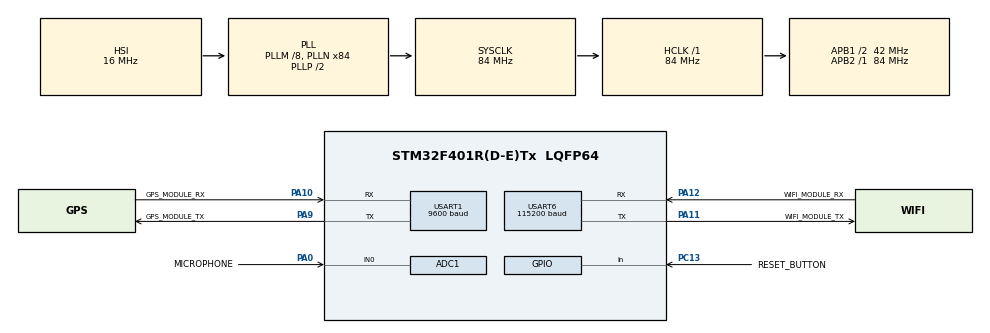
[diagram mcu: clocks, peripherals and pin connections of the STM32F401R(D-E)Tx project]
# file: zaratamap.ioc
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ADC1.Channel-18\#ChannelRegularConversion=ADC_CHANNEL_0
ADC1.ClockPrescaler=ADC_CLOCK_SYNC_PCLK_DIV4
ADC1.ContinuousConvMode=DISABLE
ADC1.DMAContinuousRequests=ENABLE
ADC1.DataAlign=ADC_DATAALIGN_RIGHT
ADC1.DiscontinuousConvMode=DISABLE
ADC1.EOCSelection=ADC_EOC_SINGLE_CONV
ADC1.EnableAnalogWatchDog=false
ADC1.ExternalTrigConv=ADC_EXTERNALTRIGCONV_T2_TRGO
ADC1.ExternalTrigConvEdge=ADC_EXTERNALTRIGCONVEDGE_RISING
ADC1.InjNumberOfConversion=0
ADC1.NbrOfConversion=1
ADC1.NbrOfConversionFlag=1
ADC1.Rank-18\#ChannelRegularConversion=1
ADC1.Resolution=ADC_RESOLUTION_12B
ADC1.SamplingTime-18\#ChannelRegularConversion=ADC_SAMPLETIME_3CYCLES
ADC1.ScanConvMode=DISABLE
ADC1.master=1
Dma.ADC1.0.Direction=DMA_PERIPH_TO_MEMORY
Dma.ADC1.0.FIFOMode=DMA_FIFOMODE_DISABLE
Dma.ADC1.0.Instance=DMA2_Stream0
Dma.ADC1.0.MemDataAlignment=DMA_MDATAALIGN_WORD
Dma.ADC1.0.MemInc=DMA_MINC_ENABLE
Dma.ADC1.0.Mode=DMA_CIRCULAR
Dma.ADC1.0.PeriphDataAlignment=DMA_PDATAALIGN_WORD
Dma.ADC1.0.PeriphInc=DMA_PINC_DISABLE
Dma.ADC1.0.Priority=DMA_PRIORITY_LOW
Dma.Request0=ADC1
Mcu.Family=STM32F4
Mcu.Name=STM32F401R(D-E)Tx
Mcu.Package=LQFP64
NVIC.ADC_IRQn=true\:0\:0\:true\:false\:true\:true
NVIC.DMA2_Stream0_IRQn=true\:0\:0\:false\:false\:true\:false
NVIC.FLASH_IRQn=true\:0\:0\:false\:false\:true\:true
NVIC.FPU_IRQn=true\:0\:0\:false\:false\:true\:true
NVIC.PVD_IRQn=true\:0\:0\:false\:false\:true\:true
NVIC.PriorityGroup=NVIC_PRIORITYGROUP_4
NVIC.RCC_IRQn=true\:0\:0\:false\:false\:true\:true
NVIC.RTC_Alarm_IRQn=true\:0\:0\:false\:false\:true\:true
NVIC.TIM2_IRQn=true\:0\:0\:true\:false\:true\:true
NVIC.USART1_IRQn=true\:0\:0\:false\:false\:true\:true
NVIC.USART6_IRQn=true\:0\:0\:true\:false\:true\:true
PA0-WKUP.GPIO_Label=MICROPHONE
PA0-WKUP.GPIO_PuPd=GPIO_NOPULL
PA0-WKUP.Signal=ADCx_IN0
PA10.GPIO_Label=GPS_MODULE_RX
PA10.Mode=Asynchronous
PA10.Signal=USART1_RX
PA11.GPIO_Label=WIFI_MODULE_TX
PA11.Mode=Asynchronous
PA11.Signal=USART6_TX
PA12.GPIO_Label=WIFI_MODULE_RX
PA12.Mode=Asynchronous
PA12.Signal=USART6_RX
PA9.GPIO_Label=GPS_MODULE_TX
PA9.Mode=Asynchronous
PA9.Signal=USART1_TX
PC13-ANTI_TAMP.GPIO_Label=RESET_BUTTON
PC13-ANTI_TAMP.GPIO_PuPd=GPIO_PULLUP
PC13-ANTI_TAMP.Signal=GPIO_Input
ProjectManager.HeapSize=0x200
ProjectManager.StackSize=0x400
ProjectManager.TargetToolchain=MDK-ARM V5
RCC.48MHZClocksFreq_Value=42000000
RCC.AHBFreq_Value=84000000
RCC.APB1CLKDivider=RCC_HCLK_DIV2
RCC.APB1Freq_Value=42000000
RCC.APB1TimFreq_Value=84000000
RCC.APB2Freq_Value=84000000
RCC.APB2TimFreq_Value=84000000
RCC.CortexFreq_Value=84000000
RCC.HCLKFreq_Value=84000000
RCC.HSE_VALUE=25000000
RCC.HSI_VALUE=16000000
RCC.LSE_VALUE=32768
RCC.PLLM=8
RCC.PLLN=84
RCC.SYSCLKFreq_VALUE=84000000
RCC.SYSCLKSource=RCC_SYSCLKSOURCE_PLLCLK
RCC.VCOOutputFreq_Value=168000000
RTC.Alarm=RTC_ALARM_A
RTC.Format=RTC_FORMAT_BIN
SH.ADCx_IN0.0=ADC1_IN0,IN0
TIM2.Period=1749
TIM2.Prescaler=0
TIM2.TIM_MasterOutputTrigger=TIM_TRGO_UPDATE
USART1.BaudRate=9600
USART1.VirtualMode=VM_ASYNC
USART6.BaudRate=115200
USART6.VirtualMode=VM_ASYNC
VP_RTC_VS_RTC_Activate.Mode=RTC_Enabled
VP_RTC_VS_RTC_Alarm_A_Intern.Mode=Alarm A
VP_RTC_VS_RTC_Calendar.Mode=RTC_Calendar
VP_TIM2_VS_ClockSourceINT.Mode=Internal
board=custom

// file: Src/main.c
/**
  ******************************************************************************
  * @file           : main.c
  * @brief          : Main program body
  ******************************************************************************
  ** This notice applies to any and all portions of this file
  * that are not between comment pairs USER CODE BEGIN and
  * USER CODE END. Other portions of this file, whether
  * inserted by the user or by software development tools
  * are owned by their respective copyright owners.
  *
  * COPYRIGHT(c) 2020 STMicroelectronics
  *
  * Redistribution and use in source and binary forms, with or without modification,
  * are permitted provided that the following conditions are met:
  *   1. Redistributions of source code must retain the above copyright notice,
  *      this list of conditions and the following disclaimer.
  *   2. Redistributions in binary form must reproduce the above copyright notice,
  *      this list of conditions and the following disclaimer in the documentation
  *      and/or other materials provided with the distribution.
  *   3. Neither the name of STMicroelectronics nor the names of its contributors
  *      may be used to endorse or promote products derived from this software
  *      without specific prior written permission.
  *
  * THIS SOFTWARE IS PROVIDED BY THE COPYRIGHT HOLDERS AND CONTRIBUTORS "AS IS"
  * AND ANY EXPRESS OR IMPLIED WARRANTIES, INCLUDING, BUT NOT LIMITED TO, THE
  * IMPLIED WARRANTIES OF MERCHANTABILITY AND FITNESS FOR A PARTICULAR PURPOSE ARE
  * DISCLAIMED. IN NO EVENT SHALL THE COPYRIGHT HOLDER OR CONTRIBUTORS BE LIABLE
  * FOR ANY DIRECT, INDIRECT, INCIDENTAL, SPECIAL, EXEMPLARY, OR CONSEQUENTIAL
  * DAMAGES (INCLUDING, BUT NOT LIMITED TO, PROCUREMENT OF SUBSTITUTE GOODS OR
  * SERVICES; LOSS OF USE, DATA, OR PROFITS; OR BUSINESS INTERRUPTION) HOWEVER
  * CAUSED AND ON ANY THEORY OF LIABILITY, WHETHER IN CONTRACT, STRICT LIABILITY,
  * OR TORT (INCLUDING NEGLIGENCE OR OTHERWISE) ARISING IN ANY WAY OUT OF THE USE
  * OF THIS SOFTWARE, EVEN IF ADVISED OF THE POSSIBILITY OF SUCH DAMAGE.
  *
  ******************************************************************************
  */
#include "main.h"
#include "stm32f4xx_hal.h"

/* USER CODE BEGIN Includes */
#include <string.h>
#include <stdlib.h>
#include <time.h>
#include <ctype.h>
#include "signalProcessing.h"
#include "config.h"

/* USER CODE END Includes */

ADC_HandleTypeDef hadc1;
DMA_HandleTypeDef hdma_adc1;

RTC_HandleTypeDef hrtc;

TIM_HandleTypeDef htim2;

UART_HandleTypeDef huart1;
UART_HandleTypeDef huart6;

/* USER CODE BEGIN PV */
/* Private variables ---------------------------------------------------------*/
uint64_t prueba = 0;
/* GENERAL CONFIGURATIONS AND DATA STRUCTURES --------------------------------*/

#define NUMBER_OF_RMS 					12
#define NUMBER_OF_DATA_TO_SEND	(int)(SECS_BETWEEN_WIFI_DUMP/((FRAME_LENGTH*FRAMES_PER_DATA_UNIT/48000.0)))

struct Coordinates {
	float lat;
	float lon;
	float alt;
};
struct Data_Unit{
	float noise[NUMBER_OF_RMS];
	uint64_t millis;
	struct Coordinates *coordinates;
};

/* MICROPHONE ----------------------------------------------------------------*/

static uint32_t inBuffer[BUFFER_LENGTH];
struct Data_Unit outBuffer[NUMBER_OF_DATA_TO_SEND];
int rmsArrayPosition = 0;

/* WIFI MODULE ---------------------------------------------------------------*/

#define READ_REPLY_SIZE 				1
#define REPLY_BUFFER_SIZE 			1500
#define FULL_POST_SIZE 					433 + strlen(DATABASE_NAME) + strlen(SERVICE_IP) + strlen(SERVICE_PORT) + strlen(VEHICLE_ID)*2
#define WAIT_STATE 							10

volatile uint16_t replyIndex=0;

char *messageAT = "AT\r\n";
char *messageConnectWIFI = "AT+CWJAP=\"" WIFI_SSID "\",\"" WIFI_PASSWORD "\"\r\n";;
char *messageConnectService = "AT+CIPSTART=\"" SERVICE_PROTOCOL "\",\"" SERVICE_IP "\"," SERVICE_PORT "\r\n";
char *messageSetSendingMode = "AT+CIPMODE=1\r\n";
char *messageStartSend = "AT+CIPSEND\r\n";
char *messageEndOfSend = "+++";
char *messageExitSendingMode = "AT+CIPMODE=0\r\n";
char *messageCloseConnection = "AT+CIPCLOSE\r\n";
char *messageReset = "AT+RST\r\n";
char *fullPost;

char readReply, reply[REPLY_BUFFER_SIZE];

int status = WAIT_STATE;
int statusTimeout = 0;
int resendMessage = 0;
int dataSent = 0;

/* RTC -----------------------------------------------------------------------*/

RTC_TimeTypeDef sTime;
RTC_AlarmTypeDef sAlarm;
RTC_DateTypeDef sDate;

const char *months[] = {"Jan", "Feb", "Mar", "Apr", "May", "Jun", "Jul", "Aug", "Sep", "Oct", "Nov", "Dec"};

struct tm currentTime;

volatile uint16_t secondsSinceStatusChange = 0;

/* GPS MODULE ----------------------------------------------------------------*/

#define READ_REPLY_SIZE_GPS 		1
#define REPLY_BUFFER_SIZE_GPS 	800
#define WAIT_STATE_GPS 					4
#define NUMBER_OF_GPS_VALUES		((NUMBER_OF_DATA_TO_SEND/NUMBER_OF_SECONDS_WITH_SAME_GPS) + (((int)NUMBER_OF_DATA_TO_SEND% (int)NUMBER_OF_SECONDS_WITH_SAME_GPS) != 0))

volatile uint16_t replyIndexGPS=0;

char *messagePowerGPS = "AT+CGPSPWR=1\r\n";
char *messageRetrieveGPS = "AT+CGPSINF=0\r\n";

char readReplyGPS, replyGPS[REPLY_BUFFER_SIZE_GPS], *replyGPSAux;

int statusGPS = WAIT_STATE_GPS;
int statusTimeoutGPS = 0;
int resendMessageGPS = 0;
volatile uint16_t secondsSinceStatusChangeGPS = 0;

int wordIndex = 0, auxGPSDataPosition = 0, lastPositionedData = 0;

int coordinateIndex = 0;

struct Coordinates allCoordinates[(int)NUMBER_OF_GPS_VALUES];

/* USER CODE END PV */

void SystemClock_Config(void);
static void MX_GPIO_Init(void);
static void MX_DMA_Init(void);
static void MX_USART6_UART_Init(void);
static void MX_RTC_Init(void);
static void MX_TIM2_Init(void);
static void MX_ADC1_Init(void);
static void MX_USART1_UART_Init(void);

/* USER CODE BEGIN PFP */
/* Private function prototypes -----------------------------------------------*/

/* RTC -----------------------------------------------------------------------*/
void setRTC(void);
uint64_t currentTimeInMillis(void);

/* UART ----------------------------------------------------------------------*/
void emptyReply( char *reply, int replySize, volatile uint16_t *index );
void nextMessage(void);
void nextMessageGPS(void);

/* USER CODE END PFP */

int main(void)
{

  /* MCU Configuration----------------------------------------------------------*/

  /* Reset of all peripherals, Initializes the Flash interface and the Systick. */
  HAL_Init();

  /* Configure the system clock */
  SystemClock_Config();

  /* Initialize all configured peripherals */
  MX_GPIO_Init();
  MX_DMA_Init();
  MX_USART6_UART_Init();
  MX_RTC_Init();
  MX_TIM2_Init();
  MX_ADC1_Init();
  MX_USART1_UART_Init();
  /* USER CODE BEGIN 2 */

	/* Initialize timer and DMA for microphone data acquisition */

	for (int i = 0; i < BUFFER_LENGTH; i++) inBuffer[i] = 0;

	HAL_TIM_Base_Start(&htim2);
  HAL_ADC_Start_DMA(&hadc1,(uint32_t *) inBuffer, BUFFER_LENGTH);
	init_processing();

	/* Initialize WiFi module and related */

	setRTC();
	HAL_UART_Receive_IT(&huart6, (uint8_t *)&readReply, READ_REPLY_SIZE);
	emptyReply(reply, REPLY_BUFFER_SIZE, &replyIndex);

	/* Initialize GPS module and related */

	HAL_UART_Receive_IT(&huart1, (uint8_t *)&readReplyGPS, READ_REPLY_SIZE_GPS);
	emptyReply(replyGPS, REPLY_BUFFER_SIZE_GPS, &replyIndexGPS);
	for (int i = 0; i < (int)NUMBER_OF_GPS_VALUES; i++){
		allCoordinates[i].lon = 0;
		allCoordinates[i].lat = 0;
		allCoordinates[i].alt = 0;
	}

	/* Initialize data */
	for (int i = 0; i < SECS_BETWEEN_WIFI_DUMP; i++){
		for (int j = 0; j < NUMBER_OF_RMS; j++) outBuffer[i].noise[j] = 0;
		outBuffer[i].coordinates = &allCoordinates[0];
	}

  /* USER CODE END 2 */

  /* Infinite loop */
  while (1)
  {

  /* USER CODE BEGIN 3 */

	/* ADD MILLISECONDS TO DATA */

	if (outBuffer[rmsArrayPosition].millis == 0) outBuffer[rmsArrayPosition].millis = currentTimeInMillis();

	/* GPS MODULE */

	if (statusGPS == WAIT_STATE_GPS && lastPositionedData != rmsArrayPosition && rmsArrayPosition % NUMBER_OF_SECONDS_WITH_SAME_GPS == 0){
		statusGPS = 0;
		statusTimeoutGPS = 0;
		secondsSinceStatusChangeGPS = secondsSinceStatusChange;
		lastPositionedData = rmsArrayPosition;
	}

	if(statusGPS != WAIT_STATE_GPS){
		switch (statusGPS)
		{
			case 0:
				// AT Command to check SIM808 is working
				HAL_UART_Transmit(&huart1, (uint8_t *)messageAT, strlen(messageAT), MAX_SECS_BETWEEN_STATUS_GPS*1000);
				nextMessageGPS();
				break;

			case 1:
				// Turn on the GPS power supply
				if (strstr(replyGPS, "\r\nOK\r\n") != NULL || resendMessageGPS == 1){
					emptyReply(replyGPS, REPLY_BUFFER_SIZE_GPS, &replyIndexGPS);
					HAL_UART_Transmit(&huart1, (uint8_t *)messagePowerGPS, strlen(messagePowerGPS), MAX_SECS_BETWEEN_STATUS_GPS*1000);
					nextMessageGPS();
				}
				break;

			case 2:
				// Ask for GPS Position
				if (strstr(replyGPS, "\r\nOK\r\n") != NULL || resendMessageGPS == 1){
					emptyReply(replyGPS, REPLY_BUFFER_SIZE_GPS, &replyIndexGPS);
					HAL_UART_Transmit(&huart1, (uint8_t *)messageRetrieveGPS, strlen(messageRetrieveGPS), MAX_SECS_BETWEEN_STATUS_GPS*1000);
					nextMessageGPS();
				}
				break;

			case 3:
				// Store obtained GPS Position in variables
				if (((strstr(replyGPS, "\r\nOK\r\n") != NULL) && (strstr(replyGPS, "+CGPSINF:") != NULL))|| resendMessageGPS == 1){
						replyGPSAux = strtok(replyGPS, ",");
						while(wordIndex < 3)
						{
							replyGPSAux = strtok(NULL, ",");
							wordIndex++;
							switch (wordIndex){
								case 1:
									allCoordinates[coordinateIndex].lon = atof(replyGPSAux)/100.0;
									break;
								case 2:
									allCoordinates[coordinateIndex].lat = atof(replyGPSAux)/100.0;
									break;
								case 3:
									allCoordinates[coordinateIndex].alt = atof(replyGPSAux);
									break;
							}
						}
						wordIndex = 0;
						if (++coordinateIndex == (int)NUMBER_OF_GPS_VALUES) coordinateIndex = 0;
						for (int i = 0; i < (int)NUMBER_OF_SECONDS_WITH_SAME_GPS; i++){
							auxGPSDataPosition = (rmsArrayPosition-1)- i;
							if (auxGPSDataPosition < 0) auxGPSDataPosition = (int)NUMBER_OF_DATA_TO_SEND + (rmsArrayPosition -1 - i);
							outBuffer[auxGPSDataPosition].coordinates = &allCoordinates[coordinateIndex];
						}
						emptyReply(replyGPS, REPLY_BUFFER_SIZE_GPS, &replyIndexGPS);
						statusTimeoutGPS = 0;
						nextMessageGPS();
					}
					break;

			default:
				// default statements
				break;
			}
			if (replyIndexGPS < (REPLY_BUFFER_SIZE_GPS-1)){
				replyGPS[replyIndexGPS] = readReplyGPS;
			}
			if ((secondsSinceStatusChange - secondsSinceStatusChangeGPS) > MAX_SECS_BETWEEN_STATUS_GPS){
				statusTimeoutGPS++;
				statusGPS--;
				resendMessageGPS = 1;
				emptyReply(replyGPS, REPLY_BUFFER_SIZE_GPS, &replyIndexGPS);
				secondsSinceStatusChangeGPS = secondsSinceStatusChange;
			}
			if (statusTimeoutGPS > (RETRY_NUMBER_GPS)){
				statusGPS = WAIT_STATE_GPS;
			}
		}

	/* WIFI MODULE */

	if(status != WAIT_STATE){
		switch (status)
		{
			case 0:
				// AT Command to check ESP8266 is working
				HAL_UART_Transmit(&huart6, (uint8_t *)messageAT, strlen(messageAT), MAX_SECS_BETWEEN_STATUS*1000);
				nextMessage();
				break;

			case 1:
				// Connect to WiFi
				if (strstr(reply, "\r\nOK\r\n") != NULL || resendMessage == 1){
					emptyReply(reply, REPLY_BUFFER_SIZE, &replyIndex);
					HAL_UART_Transmit(&huart6, (uint8_t *)messageConnectWIFI, strlen(messageConnectWIFI), MAX_SECS_BETWEEN_STATUS*1000);
					nextMessage();
				}
				break;

			case 2:
				// Connect to service in which the database is running
				if (strstr(reply, "\r\nOK\r\n") != NULL || resendMessage == 1){
					emptyReply(reply, REPLY_BUFFER_SIZE, &replyIndex);
					HAL_UART_Transmit(&huart6, (uint8_t *)messageConnectService, strlen(messageConnectService), MAX_SECS_BETWEEN_STATUS*1000);
					nextMessage();
				}
				break;

			case 3:
				// Select sending mode in ESP8266
				if (strstr(reply, "\r\nOK\r\n") != NULL || resendMessage == 1){
					emptyReply(reply, REPLY_BUFFER_SIZE, &replyIndex);
					HAL_UART_Transmit(&huart6, (uint8_t *)messageSetSendingMode, strlen(messageSetSendingMode), MAX_SECS_BETWEEN_STATUS*1000);
					nextMessage();
				}
				break;

			case 4:
				// Command to ESP8266 the start of a message
				if (strstr(reply, "\r\nOK\r\n") != NULL || resendMessage == 1){
					emptyReply(reply, REPLY_BUFFER_SIZE, &replyIndex);
					HAL_UART_Transmit(&huart6, (uint8_t *)messageStartSend, strlen(messageStartSend), MAX_SECS_BETWEEN_STATUS*1000);
					nextMessage();
				}
				break;

			case 5:
				// Send POST message
				if (strstr(reply, "\r\nOK\r\n\r\n>") != NULL || resendMessage == 1){
					emptyReply(reply, REPLY_BUFFER_SIZE, &replyIndex);
					fullPost = malloc(FULL_POST_SIZE);
//					test = outBuffer[9].coordinates->alt;
					snprintf(fullPost, FULL_POST_SIZE, "POST /write?db=%s HTTP/1.1\r\nHost: %s:%s\r\nUser-Agent: curl/7.55.1\r\nAccept: */*\r\nContent-Length:298\r\nContent-Type: application/x-www-form-urlencoded\r\n\r\nzaratamap_data,host=%s,key=%s-%llu Laeq=%07.3f,LaeqA=%07.3f,o63=%07.3f,o125=%07.3f,o250=%07.3f,o500=%07.3f,o1000=%07.3f,o2000=%07.3f,o4000=%07.3f,o8000=%07.3f,o16000=%07.3f,lon=%08.3f,lat=%08.3f,alt=%08.3f,aux_time=%llu,class=\"undefined\" %llu000000\r\n",
										DATABASE_NAME, SERVICE_IP, SERVICE_PORT, VEHICLE_ID, VEHICLE_ID, outBuffer[dataSent].millis, outBuffer[dataSent].noise[0], outBuffer[dataSent].noise[11], outBuffer[dataSent].noise[2], outBuffer[dataSent].noise[3],
										outBuffer[dataSent].noise[4], outBuffer[dataSent].noise[5], outBuffer[dataSent].noise[6], outBuffer[dataSent].noise[7], outBuffer[dataSent].noise[8],
										outBuffer[dataSent].noise[9], outBuffer[dataSent].noise[10],
										outBuffer[dataSent].coordinates->lon, outBuffer[dataSent].coordinates->lat, outBuffer[dataSent].coordinates->alt,
										outBuffer[dataSent].millis, outBuffer[dataSent].millis);
					HAL_UART_Transmit(&huart6, (uint8_t *)fullPost, strlen(fullPost), MAX_SECS_BETWEEN_STATUS*1000);
					free(fullPost);
					outBuffer[dataSent].millis = 0;
					nextMessage();
				}
				break;

			case 6:
				// Command to ESP8266 the end of the message
				if ((strstr(reply, "GMT\r\n") != NULL && strstr(reply, "HTTP/1.1 204") != NULL) || (secondsSinceStatusChange > SECS_BETWEEN_DATA_MESSAGES) || resendMessage == 1){
					emptyReply(reply, REPLY_BUFFER_SIZE, &replyIndex);
					if (++dataSent == NUMBER_OF_DATA_TO_SEND){
						dataSent = 0;
						HAL_UART_Transmit(&huart6, (uint8_t *)messageEndOfSend, strlen(messageEndOfSend), MAX_SECS_BETWEEN_STATUS*1000);
						nextMessage();
					}else{
						status--;
						resendMessage = 1;
						emptyReply(reply, REPLY_BUFFER_SIZE, &replyIndex);
						secondsSinceStatusChange = 0;
					}
				}
				break;

			case 7:
				// Exit sending mode
				if ((secondsSinceStatusChange > SECS_FOR_NO_REPLY_MESSAGE) || resendMessage == 1){
					emptyReply(reply, REPLY_BUFFER_SIZE, &replyIndex);
					HAL_UART_Transmit(&huart6, (uint8_t *)messageExitSendingMode, strlen(messageExitSendingMode), MAX_SECS_BETWEEN_STATUS*1000);
					nextMessage();
				}
				break;

			case 8:
				// Close connection
				if (strstr(reply, "\r\nOK\r\n") != NULL || resendMessage == 1){
					emptyReply(reply, REPLY_BUFFER_SIZE, &replyIndex);
					HAL_UART_Transmit(&huart6, (uint8_t *)messageCloseConnection, strlen(messageCloseConnection), MAX_SECS_BETWEEN_STATUS*1000);
					nextMessage();
				}
				break;

			case 9:
				// Wait for close confirmation
				if (strstr(reply, "\r\nOK\r\n") != NULL  || resendMessage == 1){
					emptyReply(reply, REPLY_BUFFER_SIZE, &replyIndex);
					nextMessage();
				}
				break;

			case 404:
				// Close connection because of error
				emptyReply(reply, REPLY_BUFFER_SIZE, &replyIndex);
				HAL_UART_Transmit(&huart6, (uint8_t *)messageCloseConnection, strlen(messageCloseConnection), MAX_SECS_BETWEEN_STATUS*1000);
				nextMessage();
				break;

			case 405:
				// Reset ESP8266
				if (strstr(reply, "\r\nOK\r\n") != NULL || (secondsSinceStatusChange > SECS_FOR_NO_REPLY_MESSAGE) || resendMessage == 1){
					emptyReply(reply, REPLY_BUFFER_SIZE, &replyIndex);
					HAL_UART_Transmit(&huart6, (uint8_t *)messageReset, strlen(messageReset), MAX_SECS_BETWEEN_STATUS*1000);
					nextMessage();
				}
				break;

			case 406:
				// Wait for confirmation of reset and return to WAIT_STATE
				if (strstr(reply, "\r\nOK\r\n") != NULL || (secondsSinceStatusChange > SECS_FOR_NO_REPLY_MESSAGE) || resendMessage == 1){
					emptyReply(reply, REPLY_BUFFER_SIZE, &replyIndex);
					nextMessage();
					status = WAIT_STATE;
				}
				break;
			default:
				// default statements
				break;
		}

		if (replyIndex < (REPLY_BUFFER_SIZE-1)){
			reply[replyIndex] = readReply;
		}

		if (HAL_GPIO_ReadPin(GPIOC, GPIO_PIN_13) == 0 || statusTimeout > (RETRY_NUMBER-1)){
			HAL_Delay(5);
			status = 404;
		}

		if (secondsSinceStatusChange > MAX_SECS_BETWEEN_STATUS){
			statusTimeout++;
			status--;
			resendMessage = 1;
			emptyReply(reply, REPLY_BUFFER_SIZE, &replyIndex);
			secondsSinceStatusChange = 0;
		}
	}

	if (status == WAIT_STATE && statusGPS == WAIT_STATE_GPS && getFrameIndex() == 0 && secondsSinceStatusChange > SECS_BETWEEN_WIFI_DUMP){
		status = 0;
		secondsSinceStatusChange = 0;
		emptyReply(reply, REPLY_BUFFER_SIZE, &replyIndex);
	}

}
  /* USER CODE END 3 */

}

void SystemClock_Config(void)
{

  RCC_OscInitTypeDef RCC_OscInitStruct;
  RCC_ClkInitTypeDef RCC_ClkInitStruct;
  RCC_PeriphCLKInitTypeDef PeriphClkInitStruct;

    /**Configure the main internal regulator output voltage
    */
  __HAL_RCC_PWR_CLK_ENABLE();

  __HAL_PWR_VOLTAGESCALING_CONFIG(PWR_REGULATOR_VOLTAGE_SCALE2);

    /**Initializes the CPU, AHB and APB busses clocks
    */
  RCC_OscInitStruct.OscillatorType = RCC_OSCILLATORTYPE_HSI|RCC_OSCILLATORTYPE_LSI;
  RCC_OscInitStruct.HSIState = RCC_HSI_ON;
  RCC_OscInitStruct.HSICalibrationValue = 16;
  RCC_OscInitStruct.LSIState = RCC_LSI_ON;
  RCC_OscInitStruct.PLL.PLLState = RCC_PLL_ON;
  RCC_OscInitStruct.PLL.PLLSource = RCC_PLLSOURCE_HSI;
  RCC_OscInitStruct.PLL.PLLM = 8;
  RCC_OscInitStruct.PLL.PLLN = 84;
  RCC_OscInitStruct.PLL.PLLP = RCC_PLLP_DIV2;
  RCC_OscInitStruct.PLL.PLLQ = 4;
  if (HAL_RCC_OscConfig(&RCC_OscInitStruct) != HAL_OK)
  {
    _Error_Handler(__FILE__, __LINE__);
  }

    /**Initializes the CPU, AHB and APB busses clocks
    */
  RCC_ClkInitStruct.ClockType = RCC_CLOCKTYPE_HCLK|RCC_CLOCKTYPE_SYSCLK
                              |RCC_CLOCKTYPE_PCLK1|RCC_CLOCKTYPE_PCLK2;
  RCC_ClkInitStruct.SYSCLKSource = RCC_SYSCLKSOURCE_PLLCLK;
  RCC_ClkInitStruct.AHBCLKDivider = RCC_SYSCLK_DIV1;
  RCC_ClkInitStruct.APB1CLKDivider = RCC_HCLK_DIV2;
  RCC_ClkInitStruct.APB2CLKDivider = RCC_HCLK_DIV1;

  if (HAL_RCC_ClockConfig(&RCC_ClkInitStruct, FLASH_LATENCY_2) != HAL_OK)
  {
    _Error_Handler(__FILE__, __LINE__);
  }

  PeriphClkInitStruct.PeriphClockSelection = RCC_PERIPHCLK_RTC;
  PeriphClkInitStruct.RTCClockSelection = RCC_RTCCLKSOURCE_LSI;
  if (HAL_RCCEx_PeriphCLKConfig(&PeriphClkInitStruct) != HAL_OK)
  {
    _Error_Handler(__FILE__, __LINE__);
  }

    /**Configure the Systick interrupt time
    */
  HAL_SYSTICK_Config(HAL_RCC_GetHCLKFreq()/1000);

    /**Configure the Systick
    */
  HAL_SYSTICK_CLKSourceConfig(SYSTICK_CLKSOURCE_HCLK);

  /* SysTick_IRQn interrupt configuration */
  HAL_NVIC_SetPriority(SysTick_IRQn, 0, 0);
}

/* ADC1 init function */
static void MX_ADC1_Init(void)
{

  ADC_ChannelConfTypeDef sConfig;

    /**Configure the global features of the ADC (Clock, Resolution, Data Alignment and number of conversion)
    */
  hadc1.Instance = ADC1;
  hadc1.Init.ClockPrescaler = ADC_CLOCK_SYNC_PCLK_DIV4;
  hadc1.Init.Resolution = ADC_RESOLUTION_12B;
  hadc1.Init.ScanConvMode = DISABLE;
  hadc1.Init.ContinuousConvMode = DISABLE;
  hadc1.Init.DiscontinuousConvMode = DISABLE;
  hadc1.Init.ExternalTrigConvEdge = ADC_EXTERNALTRIGCONVEDGE_RISING;
  hadc1.Init.ExternalTrigConv = ADC_EXTERNALTRIGCONV_T2_TRGO;
  hadc1.Init.DataAlign = ADC_DATAALIGN_RIGHT;
  hadc1.Init.NbrOfConversion = 1;
  hadc1.Init.DMAContinuousRequests = ENABLE;
  hadc1.Init.EOCSelection = ADC_EOC_SINGLE_CONV;
  if (HAL_ADC_Init(&hadc1) != HAL_OK)
  {
    _Error_Handler(__FILE__, __LINE__);
  }

    /**Configure for the selected ADC regular channel its corresponding rank in the sequencer and its sample time.
    */
  sConfig.Channel = ADC_CHANNEL_0;
  sConfig.Rank = 1;
  sConfig.SamplingTime = ADC_SAMPLETIME_3CYCLES;
  if (HAL_ADC_ConfigChannel(&hadc1, &sConfig) != HAL_OK)
  {
    _Error_Handler(__FILE__, __LINE__);
  }

}

/* RTC init function */
static void MX_RTC_Init(void)
{

  RTC_TimeTypeDef sTime;
  RTC_DateTypeDef sDate;
  RTC_AlarmTypeDef sAlarm;

    /**Initialize RTC Only
    */
  hrtc.Instance = RTC;
  hrtc.Init.HourFormat = RTC_HOURFORMAT_24;
  hrtc.Init.AsynchPrediv = 127;
  hrtc.Init.SynchPrediv = 255;
  hrtc.Init.OutPut = RTC_OUTPUT_DISABLE;
  hrtc.Init.OutPutPolarity = RTC_OUTPUT_POLARITY_HIGH;
  hrtc.Init.OutPutType = RTC_OUTPUT_TYPE_OPENDRAIN;
  if (HAL_RTC_Init(&hrtc) != HAL_OK)
  {
    _Error_Handler(__FILE__, __LINE__);
  }

    /**Initialize RTC and set the Time and Date
    */
  sTime.Hours = 0;
  sTime.Minutes = 0;
  sTime.Seconds = 0;
  sTime.DayLightSaving = RTC_DAYLIGHTSAVING_NONE;
  sTime.StoreOperation = RTC_STOREOPERATION_RESET;
  if (HAL_RTC_SetTime(&hrtc, &sTime, RTC_FORMAT_BIN) != HAL_OK)
  {
    _Error_Handler(__FILE__, __LINE__);
  }

  sDate.WeekDay = RTC_WEEKDAY_MONDAY;
  sDate.Month = RTC_MONTH_JANUARY;
  sDate.Date = 1;
  sDate.Year = 0;

  if (HAL_RTC_SetDate(&hrtc, &sDate, RTC_FORMAT_BIN) != HAL_OK)
  {
    _Error_Handler(__FILE__, __LINE__);
  }

    /**Enable the Alarm A
    */
  sAlarm.AlarmTime.Hours = 0;
  sAlarm.AlarmTime.Minutes = 0;
  sAlarm.AlarmTime.Seconds = 0;
  sAlarm.AlarmTime.SubSeconds = 0;
  sAlarm.AlarmTime.DayLightSaving = RTC_DAYLIGHTSAVING_NONE;
  sAlarm.AlarmTime.StoreOperation = RTC_STOREOPERATION_RESET;
  sAlarm.AlarmMask = RTC_ALARMMASK_NONE;
  sAlarm.AlarmSubSecondMask = RTC_ALARMSUBSECONDMASK_ALL;
  sAlarm.AlarmDateWeekDaySel = RTC_ALARMDATEWEEKDAYSEL_DATE;
  sAlarm.AlarmDateWeekDay = 1;
  sAlarm.Alarm = RTC_ALARM_A;
  if (HAL_RTC_SetAlarm_IT(&hrtc, &sAlarm, RTC_FORMAT_BIN) != HAL_OK)
  {
    _Error_Handler(__FILE__, __LINE__);
  }

}

/* TIM2 init function */
static void MX_TIM2_Init(void)
{

  TIM_ClockConfigTypeDef sClockSourceConfig;
  TIM_MasterConfigTypeDef sMasterConfig;

  htim2.Instance = TIM2;
  htim2.Init.Prescaler = 0;
  htim2.Init.CounterMode = TIM_COUNTERMODE_UP;
  htim2.Init.Period = 1749;
  htim2.Init.ClockDivision = TIM_CLOCKDIVISION_DIV1;
  if (HAL_TIM_Base_Init(&htim2) != HAL_OK)
  {
    _Error_Handler(__FILE__, __LINE__);
  }

  sClockSourceConfig.ClockSource = TIM_CLOCKSOURCE_INTERNAL;
  if (HAL_TIM_ConfigClockSource(&htim2, &sClockSourceConfig) != HAL_OK)
  {
    _Error_Handler(__FILE__, __LINE__);
  }

  sMasterConfig.MasterOutputTrigger = TIM_TRGO_UPDATE;
  sMasterConfig.MasterSlaveMode = TIM_MASTERSLAVEMODE_DISABLE;
  if (HAL_TIMEx_MasterConfigSynchronization(&htim2, &sMasterConfig) != HAL_OK)
  {
    _Error_Handler(__FILE__, __LINE__);
  }

}

/* USART1 init function */
static void MX_USART1_UART_Init(void)
{

  huart1.Instance = USART1;
  huart1.Init.BaudRate = 9600;
  huart1.Init.WordLength = UART_WORDLENGTH_8B;
  huart1.Init.StopBits = UART_STOPBITS_1;
  huart1.Init.Parity = UART_PARITY_NONE;
  huart1.Init.Mode = UART_MODE_TX_RX;
  huart1.Init.HwFlowCtl = UART_HWCONTROL_NONE;
  huart1.Init.OverSampling = UART_OVERSAMPLING_16;
  if (HAL_UART_Init(&huart1) != HAL_OK)
  {
    _Error_Handler(__FILE__, __LINE__);
  }

}

/* USART6 init function */
static void MX_USART6_UART_Init(void)
{

  huart6.Instance = USART6;
  huart6.Init.BaudRate = 115200;
  huart6.Init.WordLength = UART_WORDLENGTH_8B;
  huart6.Init.StopBits = UART_STOPBITS_1;
  huart6.Init.Parity = UART_PARITY_NONE;
  huart6.Init.Mode = UART_MODE_TX_RX;
  huart6.Init.HwFlowCtl = UART_HWCONTROL_NONE;
  huart6.Init.OverSampling = UART_OVERSAMPLING_16;
  if (HAL_UART_Init(&huart6) != HAL_OK)
  {
    _Error_Handler(__FILE__, __LINE__);
  }

}

static void MX_DMA_Init(void)
{
  /* DMA controller clock enable */
  __HAL_RCC_DMA2_CLK_ENABLE();

  /* DMA interrupt init */
  /* DMA2_Stream0_IRQn interrupt configuration */
  HAL_NVIC_SetPriority(DMA2_Stream0_IRQn, 0, 0);
  HAL_NVIC_EnableIRQ(DMA2_Stream0_IRQn);

}

/** Configure pins as
        * Analog
        * Input
        * Output
        * EVENT_OUT
        * EXTI
*/
static void MX_GPIO_Init(void)
{

  GPIO_InitTypeDef GPIO_InitStruct;

  /* GPIO Ports Clock Enable */
  __HAL_RCC_GPIOC_CLK_ENABLE();
  __HAL_RCC_GPIOA_CLK_ENABLE();

  /*Configure GPIO pin : RESET_BUTTON_Pin */
  GPIO_InitStruct.Pin = RESET_BUTTON_Pin;
  GPIO_InitStruct.Mode = GPIO_MODE_INPUT;
  GPIO_InitStruct.Pull = GPIO_PULLUP;
  HAL_GPIO_Init(RESET_BUTTON_GPIO_Port, &GPIO_InitStruct);

}

/* USER CODE BEGIN 4 */

void HAL_ADC_ConvCpltCallback(ADC_HandleTypeDef* hadc){
	if (status == WAIT_STATE && statusGPS == WAIT_STATE_GPS) process(&inBuffer[FRAME_LENGTH],&outBuffer[rmsArrayPosition].noise[0],FRAME_LENGTH, &rmsArrayPosition);
}

void HAL_ADC_ConvHalfCpltCallback(ADC_HandleTypeDef* hadc){
	if (status == WAIT_STATE && statusGPS == WAIT_STATE_GPS) process(&inBuffer[0],&outBuffer[rmsArrayPosition].noise[0],FRAME_LENGTH, &rmsArrayPosition);
}

void HAL_UART_RxCpltCallback(UART_HandleTypeDef *UartHandle)
{
    HAL_UART_Receive_IT(&huart6,(uint8_t *) &readReply, READ_REPLY_SIZE);
		HAL_UART_Receive_IT(&huart1,(uint8_t *) &readReplyGPS, READ_REPLY_SIZE_GPS);
}

void emptyReply( char *reply, int replySize, volatile uint16_t *index ) {
   for (int i = 0; i < replySize; i++) reply[i] = 0;
	 *index = 0;
}

void nextMessage(void){
	status++;
	secondsSinceStatusChange = 0;
	if (resendMessage == 0) statusTimeout = 0;
	else resendMessage = 0;
}

void nextMessageGPS(void){
	statusGPS++;
	if (resendMessageGPS == 0) statusTimeoutGPS = 0;
	else resendMessageGPS = 0;
	secondsSinceStatusChangeGPS = secondsSinceStatusChange;
}

void setRTC(void){
	// Set time
	sTime.Hours = (__TIME__[0] - 0x30)*10 +  (__TIME__[1] - 0x30);
  sTime.Minutes = (__TIME__[3] - 0x30)*10 +  (__TIME__[4] - 0x30);
  sTime.Seconds = (__TIME__[6] - 0x30)*10 +  (__TIME__[7] - 0x30);
	HAL_RTC_SetTime(&hrtc, &sTime, RTC_FORMAT_BIN);

	// Set date
	char month[4];
	strncpy(month, __DATE__, 3);
	month[3] = '\0';
	for (int i = 0; i < 12; i++){
		if (strcmp(months[i], month) == 0){
			if (i < 9) sDate.Month = ('0' - 0x30)*10 +  (i + 1 + '0' - 0x30);
			else sDate.Month = ('1' - 0x30)*10 +  (((i+1)%10) + '0' - 0x30);
		}
	}
  sDate.Date = (isdigit(__DATE__[4]) ? (__DATE__[4] - 0x30)*10 : 0) +  (__DATE__[5] - 0x30);
  sDate.Year = (__DATE__[9] - 0x30)*10 + (__DATE__[10] - 0x30);
	HAL_RTC_SetDate(&hrtc, &sDate, RTC_FORMAT_BIN);

	// Set alarm to interrupt every second
	RTC_AlarmTypeDef sAlarm;
	HAL_RTC_GetAlarm(&hrtc, &sAlarm, RTC_ALARM_A, RTC_FORMAT_BIN);
	sAlarm.AlarmMask = RTC_ALARMMASK_ALL;
	sAlarm.Alarm = RTC_ALARM_A;
  if (HAL_RTC_SetAlarm_IT(&hrtc, &sAlarm, RTC_FORMAT_BIN) != HAL_OK)
  {
    _Error_Handler(__FILE__, __LINE__);
  }
}

uint64_t currentTimeInMillis(void){
	HAL_RTC_GetTime(&hrtc, &sTime, RTC_FORMAT_BIN);
	HAL_RTC_GetDate(&hrtc, &sDate, RTC_FORMAT_BIN);

	HAL_Delay(10);

	currentTime.tm_year = sDate.Year + 100;
	currentTime.tm_mon = sDate.Month - 1;
	currentTime.tm_mday = sDate.Date;
	currentTime.tm_hour = sTime.Hours;
	currentTime.tm_min = sTime.Minutes;
	currentTime.tm_sec = sTime.Seconds;
	currentTime.tm_isdst = -1;

	return  mktime(&currentTime)*1000ULL + sTime.SubSeconds;
}

/* USER CODE END 4 */

void _Error_Handler(char *file, int line)
{
  while(1)
  {
  }
}

/************************ (C) COPYRIGHT STMicroelectronics *****END OF FILE****/
